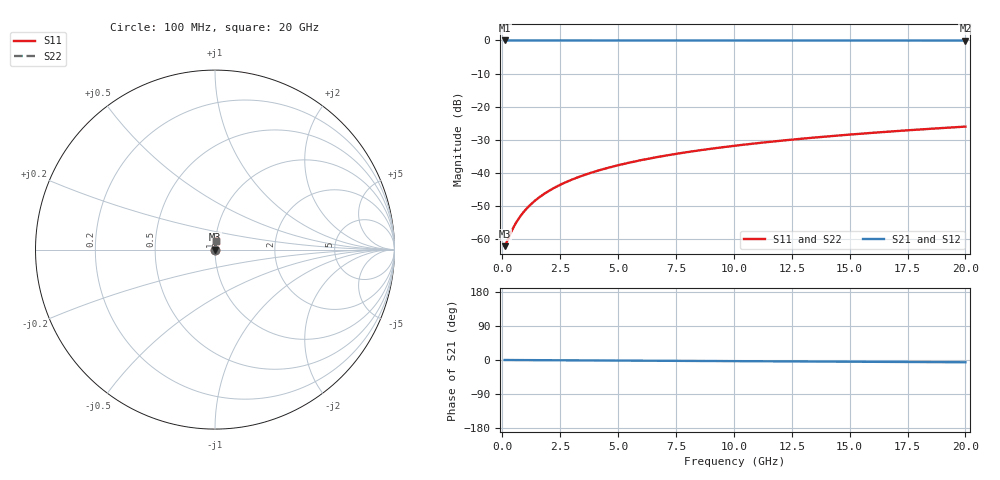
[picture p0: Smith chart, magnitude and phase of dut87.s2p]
! Touchstone file exported from HFSS 2026.1.0
!  File:  C:/ffzhzh/LocalFiles/Ansys_Project_Files/temp_train_TSV_87_1782959602_15332.aedt
!  Generated:  10:35:21 AM Jul  2, 2026
!  Design:  TSV
!  Project:  temp_train_TSV_87_1782959602_15332
! Variables:
!  h_bsmrdl = 2um
!  h_ox = 20um
!  h_rdl = 5um
!  h_sub = 51.43um
!  h_tmrdl = 5um
!  h_tsv = 51.43um
!  h_via = 3um
!  l_bsmrdl = 300um
!  l_sub = 405.82um
!  l_tmrdl = 200um
!  m_sub = 200um
!  pitch = 25.75um
!  r_tsv = 2.91um
!  s_tmrdl = 10um
!  w_bsmrdl = 18um
!  w_sub = 500um
!  w_tmrdl = 12um
!  x_tsv_center1 = 206um
!  x_tsv_center2 = 524um
!  x_tsv_center3 = 736um
!  x_tsv_center4 = 1054um
!  x_tsv_center5 = 1266um
!  x_tsv_center6 = 1584um
# GHz S MA R 50.000000
! Terminal data exported
! Port[1] = TSV1_1_T1
! Port[2] = TSV1_1_T2
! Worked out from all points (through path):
!   200 points, 100 MHz to 20 GHz, reference 50 ohm
!   highest |S21| = -0.01 dB at 100 MHz (marker M1); lowest = 0.0 dB at 20 GHz (marker M2)
!   lowest |S11| = -62.2 dB at 100 MHz (marker M3), VSWR 1.00, Z = 50.1 + j0.0274 ohm
!   |S11| at or under -10 dB: start of sweep to end of sweep
!   |S22| runs from -62.2 to -26.0 dB; largest |S21 - S12| = 3.3e-15
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0.1  0.0007806 20.5  0.9993 -0.0  0.9993 -0.0  0.0007806 20.5
! Gamma 0 0 0 0
! Port Impedance 50 0 50 0
0.2  0.0009175 36.4  0.9993 -0.1  0.9993 -0.1  0.0009175 36.4
0.4  0.001315 54.8  0.9992 -0.1  0.9992 -0.1  0.001315 54.8
0.5  0.001541 60.2  0.9992 -0.2  0.9992 -0.2  0.001541 60.2
0.7  0.002016 67.1  0.9992 -0.2  0.9992 -0.2  0.002016 67.1
0.8  0.00226 69.5  0.9992 -0.2  0.9992 -0.2  0.00226 69.5
1  0.002756 73.0  0.9992 -0.3  0.9992 -0.3  0.002756 73.0
1.3  0.003514 76.4  0.9992 -0.4  0.9992 -0.4  0.003514 76.4
1.7  0.004536 79.0  0.9992 -0.5  0.9992 -0.5  0.004536 79.0
2.2  0.005823 81.0  0.9991 -0.7  0.9991 -0.7  0.005823 81.0
2.8  0.007371 82.2  0.9991 -0.9  0.9991 -0.9  0.007371 82.2
3.5  0.009175 83.1  0.999 -1.1  0.999 -1.1  0.009175 83.1
4.2  0.01097 83.5  0.9989 -1.3  0.9989 -1.3  0.01097 83.5
5  0.01302 83.8  0.9988 -1.5  0.9988 -1.5  0.01302 83.8
5.9  0.01531 83.9  0.9987 -1.8  0.9987 -1.8  0.01531 83.9
6.8  0.01759 83.9  0.9986 -2.1  0.9986 -2.1  0.01759 83.9
8.3  0.02135 83.7  0.9984 -2.5  0.9984 -2.5  0.02135 83.7
10.1  0.02582 83.4  0.9981 -3.1  0.9981 -3.1  0.02582 83.4
11.7  0.02976 83.1  0.9978 -3.5  0.9978 -3.5  0.02976 83.1
13.4  0.03393 82.8  0.9975 -4.0  0.9975 -4.0  0.03393 82.8
16.7  0.04196 82.1  0.997 -5.0  0.997 -5.0  0.04196 82.1
20  0.04995 81.3  0.9964 -6.0  0.9964 -6.0  0.04995 81.3
